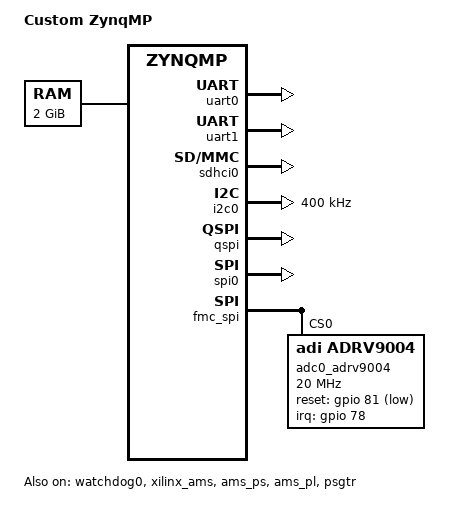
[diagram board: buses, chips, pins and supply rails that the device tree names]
// SPDX-License-Identifier: GPL-2.0
/*
 * dts file for Custom ZynqMP ZU3EG board
 *
 * hdl_project: <adrv9004>
 * board_revision: <>
 *
 * Copyright (C) 2026
 */

/dts-v1/;

#include "zynqmp.dtsi"
#include "zynqmp-clk-ccf.dtsi"
#include <dt-bindings/interrupt-controller/irq.h>
#include <dt-bindings/gpio/gpio.h>
#include <dt-bindings/iio/adc/adi,adrv9002.h>

/ {
	model = "Custom ZynqMP";
	compatible = "xlnx,zynqmp";

	aliases {
		i2c0 = &i2c0;
		mmc0 = &sdhci0;
		rtc0 = &rtc;
		serial0 = &uart1;
		serial1 = &uart0;
		spi0 = &qspi;
		spi1 = &spi0;
	};

	chosen {
		bootargs = "console=ttyPS0,115200 earlycon clk_ignore_unused root=/dev/mmcblk0p2 rw rootwait";
		stdout-path = "serial0:115200n8";
	};

	memory@0 {
		device_type = "memory";
		reg = <0x0 0x0 0x0 0x80000000>; /* 2GB */
	};

	fpga_axi: axi_pl {
		interrupt-parent = <&gic>;
		compatible = "simple-bus";
		#address-cells = <0x1>;
		#size-cells = <0x1>;
		ranges = <0 0 0 0xffffffff>;

		rx1_dma: dma-controller@84a30000 {
			compatible = "adi,axi-dmac-1.00.a";
			reg = <0x84a30000 0x10000>;
			#dma-cells = <1>;
			dma-coherent;
			interrupts = <0 109 IRQ_TYPE_LEVEL_HIGH>;
			clocks = <&zynqmp_clk 71>;
		};

		rx2_dma: dma-controller@84a40000 {
			compatible = "adi,axi-dmac-1.00.a";
			reg = <0x84a40000 0x10000>;
			#dma-cells = <1>;
			dma-coherent;
			interrupts = <0 108 IRQ_TYPE_LEVEL_HIGH>;
			clocks = <&zynqmp_clk 71>;
		};

		tx1_dma: dma-controller@84a50000 {
			compatible = "adi,axi-dmac-1.00.a";
			reg = <0x84a50000 0x10000>;
			#dma-cells = <1>;
			dma-coherent;
			interrupts = <0 107 IRQ_TYPE_LEVEL_HIGH>;
			clocks = <&zynqmp_clk 71>;
		};

		tx2_dma: dma-controller@84a60000 {
			compatible = "adi,axi-dmac-1.00.a";
			reg = <0x84a60000 0x10000>;
			#dma-cells = <1>;
			dma-coherent;
			interrupts = <0 106 IRQ_TYPE_LEVEL_HIGH>;
			clocks = <&zynqmp_clk 71>;
		};

		axi_adrv9004_core_rx1: axi-adrv9004-rx-lpc@84a00000 {
			compatible = "adi,axi-adrv9004-rx-1.0";
			reg = <0x84a00000 0x6000>;
			clocks = <&adc0_adrv9004 0>;
			dmas = <&rx1_dma 0>;
			dma-names = "rx";
			spibus-connected = <&adc0_adrv9004>;
		};

		axi_adrv9004_core_tx1: axi-adrv9004-tx-lpc@84a0a000 {
			compatible = "adi,axi-adrv9004-tx-1.0";
			reg = <0x84a0a000 0x2000>;
			clocks = <&adc0_adrv9004 1>;
			clock-names = "sampl_clk";
			dmas = <&tx1_dma 0>;
			dma-names = "tx";
			adi,axi-dds-default-scale = <0x800>;
			adi,axi-dds-default-frequency = <2000000>;
		};

		axi_adrv9004_core_rx2: axi-adrv9004-rx2-lpc@84a09000 {
			compatible = "adi,axi-adrv9004-rx2-1.0";
			reg = <0x84a09000 0x1000>;
			clocks = <&adc0_adrv9004 3>;
			clock-names = "sampl_clk";
			dmas = <&rx2_dma 0>;
			dma-names = "rx";
		};

		axi_adrv9004_core_tx2: axi-adrv9004-tx2-lpc@84a0c000 {
			compatible = "adi,axi-adrv9004-tx-1.0";
			reg = <0x84a0c000 0x2000>;
			clocks = <&adc0_adrv9004 4>;
			clock-names = "sampl_clk";
			dmas = <&tx2_dma 0>;
			dma-names = "tx";
			adi,axi-dds-default-scale = <0x800>;
			adi,axi-dds-default-frequency = <2000000>;
		};

		axi_sysid_0: axi-sysid-0@85000000 {
			compatible = "adi,axi-sysid-1.00.a";
			reg = <0x85000000 0x10000>;
		};
	};
};

&uart0 {
	status = "okay";
};

&uart1 {
	status = "okay";
};

&sdhci0 {
	status = "okay";
	disable-wp;
};

&i2c0 {
	status = "okay";
	clock-frequency = <400000>;
};

&qspi {
	status = "okay";
	is-dual = <0>;
	num-cs = <1>;
};

&spi0 {
	status = "okay";
};

&gpio {
	status = "okay";
};

&rtc {
	status = "disabled";
};

&watchdog0 {
	status = "okay";
};

&xilinx_ams {
	status = "okay";
};

&ams_ps {
	status = "okay";
};

&ams_pl {
	status = "okay";
};

&psgtr {
	status = "okay";
};

#define fmc_spi spi0

/ {
	clocks {
		adrv9004_clkin: clock@0 {
			compatible = "fixed-clock";

			clock-frequency = <38400000>;
			clock-output-names = "adrv9004_ext_refclk";
			#clock-cells = <0>;
		};
	};
};

&fmc_spi {
	status = "okay";

	adc0_adrv9004: adrv9004-phy@0 {
		compatible = "adi,adrv9004";
		reg = <0>;

		interrupt-parent = <&gpio>;
		reset-gpios = <&gpio 81 GPIO_ACTIVE_LOW>;
		interrupts = <78 IRQ_TYPE_EDGE_RISING>;

		spi-max-frequency = <20000000>;
		/* Clocks */
		clocks = <&adrv9004_clkin>;
		clock-names = "adrv9002_ext_refclk";
		clock-output-names = "rx1_sampl_clk", "tx1_sampl_clk", "tdd1_intf_clk",
				"rx2_sampl_clk", "tx2_sampl_clk", "tdd2_intf_clk";
		#clock-cells = <1>;

		adi,channels {
			#address-cells = <1>;
			#size-cells = <0>;

			rx0: rx@0 {
				reg = <0>;
				adi,port = <0>;
				enable-gpios = <&gpio 125 GPIO_ACTIVE_HIGH>;
				mux-ctl-gpios = <&gpio 86 GPIO_ACTIVE_HIGH>;
			};

			rx1: rx@1 {
				reg = <1>;
				adi,port = <0>;
				enable-gpios = <&gpio 124 GPIO_ACTIVE_HIGH>;
				mux-ctl-gpios = <&gpio 88 GPIO_ACTIVE_HIGH>;
			};

			tx0: tx@0 {
				reg = <0>;
				adi,port = <1>;
				adi,dpd;
				mux-ctl-gpios = <&gpio 90 GPIO_ACTIVE_HIGH>;
				enable-gpios = <&gpio 123 GPIO_ACTIVE_HIGH>;
			};

			tx1: tx@1 {
				reg = <1>;
				adi,port = <1>;
				adi,dpd;
				mux-ctl-gpios = <&gpio 92 GPIO_ACTIVE_HIGH>;
				enable-gpios = <&gpio 122 GPIO_ACTIVE_HIGH>;
			};

		};

		adi,gpios {
			#address-cells = <1>;
			#size-cells = <0>;

			gpio@0 {
				reg = <ADRV9002_DGPIO_0>;
				adi,signal = <ADRV9002_GPIO_SIGNAL_ORX_ENABLE_1>;
			};

			gpio@1 {
				reg = <ADRV9002_DGPIO_1>;
				adi,signal = <ADRV9002_GPIO_SIGNAL_ORX_ENABLE_2>;
			};
		};

		/* Frequency hopping properties */
		adi,frequency-hopping {
			adi,fh-mode = <ADRV9002_FH_LO_RETUNE_REALTIME_PROCESS_DUAL_HOP>;
			adi-fh-rx-zero-if-en;

			/* Depends on @adi,fh-mode being set to dual hop */
			adi,fh-hop-signal-2 {
				adi,fh-hop-rx-ports = <ADRV9002_RX_2>;
				adi,fh-hop-tx-ports = <ADRV9002_TX_2>;
			};
		};
	};
};

